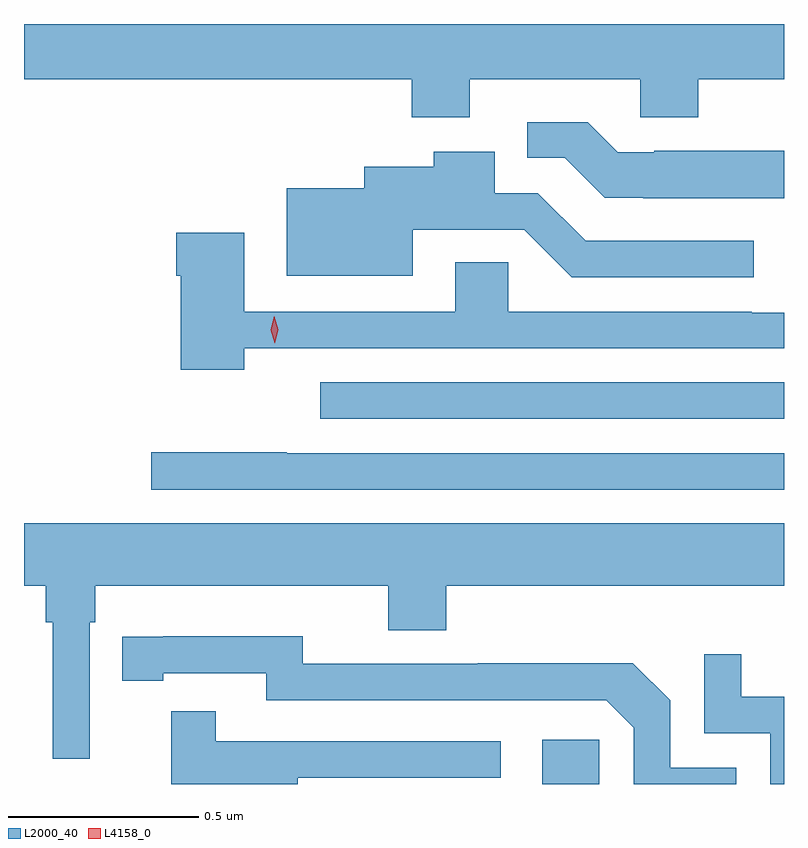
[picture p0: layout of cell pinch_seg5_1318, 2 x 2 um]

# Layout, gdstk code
import gdstk
lib = gdstk.Library(unit=1e-6, precision=1e-09)
def R(c, l, rs):  # rectangles x0, y0, x1, y1
    for r in rs: c.add(gdstk.rectangle(r[:2], r[2:], *l))
def P(c, l, *ps):  # polygons
    for p in ps: c.add(gdstk.Polygon(p, *l))
L2000_40 = (2000, 40)
L4158_0 = (4158, 0)

pinch_seg5_1318 = lib.new_cell('pinch_seg5_1318')
R(pinch_seg5_1318, L2000_40, [(493.968,836.258,494.118,836.374), (493.383,837.219,494.604,837.315)])
P(pinch_seg5_1318, L2000_40, [(493.777,838.112),(494.226,838.112),(494.226,838.013),(494.378,838.013),(494.378,838.112),(494.604,838.112),(494.604,838.258),(492.604,838.258),(492.604,838.112),(493.625,838.112),(493.625,838.013),(493.777,838.013)],
  [(494.604,837.925),(494.263,837.925),(494.263,837.921),(494.167,837.921),(494.088,838),(493.928,838),(493.928,837.906),(494.027,837.906),(494.132,837.801),(494.233,837.801),(494.233,837.8),(494.604,837.8)],
  [(494.524,837.687),(494.082,837.687),(493.956,837.813),(493.843,837.813),(493.843,837.922),(493.682,837.922),(493.682,837.883),(493.499,837.883),(493.499,837.826),(493.295,837.826),(493.295,837.596),(493.627,837.596),(493.627,837.717),(493.92,837.717),(494.046,837.591),(494.524,837.591)],
  [(493.183,837.405),(494.604,837.405),(494.604,837.498),(494.519,837.498),(494.519,837.501),(493.878,837.501),(493.878,837.631),(493.739,837.631),(493.739,837.501),(493.183,837.501),(493.183,837.709),(493.004,837.709),(493.004,837.596),(493.016,837.596),(493.016,837.348),(493.183,837.348)],
  [(494.604,837.129),(493.295,837.129),(493.295,837.131),(492.939,837.131),(492.939,837.033),(494.604,837.033)],
  [(492.777,836.684),(492.791,836.684),(492.791,836.78),(493.562,836.78),(493.562,836.663),(493.715,836.663),(493.715,836.78),(494.604,836.78),(494.604,836.944),(492.604,836.944),(492.604,836.78),(492.661,836.78),(492.661,836.684),(492.68,836.684),(492.68,836.325),(492.777,836.325)],
  [(494.478,836.301),(494.304,836.301),(494.304,836.478),(494.206,836.576),(493.798,836.576),(493.798,836.574),(493.338,836.574),(493.338,836.647),(492.97,836.647),(492.97,836.646),(492.862,836.646),(492.862,836.53),(492.97,836.53),(492.97,836.55),(493.242,836.55),(493.242,836.478),(494.136,836.478),(494.208,836.406),(494.208,836.258),(494.478,836.258)],
  [(494.604,836.487),(494.491,836.487),(494.491,836.599),(494.394,836.599),(494.394,836.391),(494.568,836.391),(494.568,836.258),(494.604,836.258)],
  [(493.325,836.274),(493.858,836.274),(493.858,836.37),(493.109,836.37),(493.109,836.449),(492.992,836.449),(492.992,836.258),(493.325,836.258)])
P(pinch_seg5_1318, L4158_0, [(493.264,837.418),(493.264,837.418),(493.253,837.453),(493.262,837.489),(493.262,837.489),(493.262,837.489),(493.273,837.454),(493.264,837.418)])

lib.write_gds('pinch_seg5_1318.gds')
